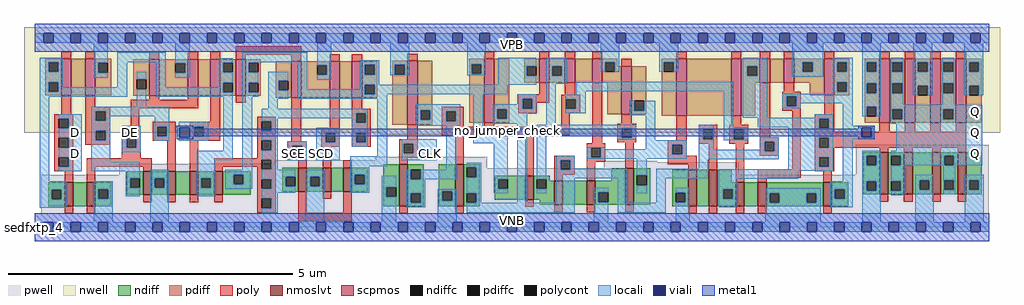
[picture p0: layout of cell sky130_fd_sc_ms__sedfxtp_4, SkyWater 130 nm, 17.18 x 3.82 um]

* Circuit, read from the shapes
.subckt sky130_fd_sc_ms__sedfxtp_4 CLK D DE SCD SCE VGND VNB VPB VPWR Q
XM1 n1 D n2 VNB sky130_fd_pr__nfet_01v8_lvt w=0.42 l=0.15
XM2 VGND DE n1 VNB sky130_fd_pr__nfet_01v8_lvt w=0.42 l=0.15
XM3 VGND DE n3 VNB sky130_fd_pr__nfet_01v8_lvt w=0.42 l=0.15
XM4 n4 n3 VGND VNB sky130_fd_pr__nfet_01v8_lvt w=0.42 l=0.15
XM5 n2 n5 n4 VNB sky130_fd_pr__nfet_01v8_lvt w=0.42 l=0.15
XM6 n6 n7 n2 VNB sky130_fd_pr__nfet_01v8_lvt w=0.42 l=0.15
XM7 VGND SCE n7 VNB sky130_fd_pr__nfet_01v8_lvt w=0.42 l=0.15
XM8 n8 SCD VGND VNB sky130_fd_pr__nfet_01v8_lvt w=0.42 l=0.15
XM9 n6 SCE n8 VNB sky130_fd_pr__nfet_01v8_lvt w=0.42 l=0.15
XM10 n9 CLK VGND VNB sky130_fd_pr__nfet_01v8_lvt w=0.74 l=0.15
XM11 n10 n9 VGND VNB sky130_fd_pr__nfet_01v8_lvt w=0.74 l=0.15
XM12 n11 n9 n6 VNB sky130_fd_pr__nfet_01v8_lvt w=0.42 l=0.15
XM13 n12 n10 n11 VNB sky130_fd_pr__nfet_01v8_lvt w=0.42 l=0.15
XM14 VGND n13 n12 VNB sky130_fd_pr__nfet_01v8_lvt w=0.42 l=0.15
XM15 n13 n11 VGND VNB sky130_fd_pr__nfet_01v8_lvt w=0.64 l=0.15
XM16 n14 n13 VGND VNB sky130_fd_pr__nfet_01v8_lvt w=0.64 l=0.15
XM17 n15 n10 n14 VNB sky130_fd_pr__nfet_01v8_lvt w=0.64 l=0.15
XM18 n16 n9 n15 VNB sky130_fd_pr__nfet_01v8_lvt w=0.42 l=0.15
XM19 VGND n5 n16 VNB sky130_fd_pr__nfet_01v8_lvt w=0.42 l=0.15
XM20 n5 n15 VGND VNB sky130_fd_pr__nfet_01v8_lvt w=0.42 l=0.15
XM21 Q n15 VGND VNB sky130_fd_pr__nfet_01v8_lvt w=0.74 l=0.15 m=4
XM22 n17 D n2 VPB sky130_fd_pr__pfet_01v8 w=0.64 l=0.18
XM23 VPWR n3 n17 VPB sky130_fd_pr__pfet_01v8 w=0.64 l=0.18
XM24 VPWR DE n3 VPB sky130_fd_pr__pfet_01v8 w=0.64 l=0.18
XM25 n18 DE VPWR VPB sky130_fd_pr__pfet_01v8 w=0.64 l=0.18
XM26 n2 n5 n18 VPB sky130_fd_pr__pfet_01v8 w=0.64 l=0.18
XM27 n6 SCE n2 VPB sky130_fd_pr__pfet_01v8 w=0.64 l=0.18
XM28 VPWR SCE n7 VPB sky130_fd_pr__pfet_01v8 w=0.64 l=0.18
XM29 n19 SCD VPWR VPB sky130_fd_pr__pfet_01v8 w=0.64 l=0.18
XM30 n6 n7 n19 VPB sky130_fd_pr__pfet_01v8 w=0.64 l=0.18
XM31 n9 CLK VPWR VPB sky130_fd_pr__pfet_01v8 w=1.12 l=0.18
XM32 n10 n9 VPWR VPB sky130_fd_pr__pfet_01v8 w=1.12 l=0.18
XM33 n11 n10 n6 VPB sky130_fd_pr__pfet_01v8 w=0.42 l=0.18
XM34 n20 n9 n11 VPB sky130_fd_pr__pfet_01v8 w=0.42 l=0.18
XM35 VPWR n13 n20 VPB sky130_fd_pr__pfet_01v8 w=0.42 l=0.18
XM36 n13 n11 VPWR VPB sky130_fd_pr__pfet_01v8 w=0.84 l=0.18
XM37 n21 n13 VPWR VPB sky130_fd_pr__pfet_01v8 w=1 l=0.18
XM38 n15 n9 n21 VPB sky130_fd_pr__pfet_01v8 w=1 l=0.18
XM39 n22 n10 n15 VPB sky130_fd_pr__pfet_01v8 w=0.42 l=0.18
XM40 VPWR n5 n22 VPB sky130_fd_pr__pfet_01v8 w=0.42 l=0.18
XM41 n5 n15 VPWR VPB sky130_fd_pr__pfet_01v8 w=0.64 l=0.18
XM42 Q n15 VPWR VPB sky130_fd_pr__pfet_01v8 w=1.12 l=0.18 m=4
.ends

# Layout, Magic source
magic
tech sky130A
magscale 1 2
<< nwell >>
rect -38 332 3398 704
rect 1223 325 1436 332
<< pwell >>
rect 1200 235 1592 248
rect 845 223 1592 235
rect 298 207 1592 223
rect 2003 228 2192 233
rect 2003 207 2479 228
rect 298 184 2479 207
rect 2891 184 3359 290
rect 22 49 3359 184
rect 0 0 3360 49
<< scpmos >>
rect 93 464 129 592
rect 177 464 213 592
rect 403 463 439 591
rect 539 463 575 591
rect 617 463 653 591
rect 707 463 743 591
rect 902 455 938 583
rect 1038 455 1074 583
rect 1116 455 1152 583
rect 1312 361 1348 585
rect 1582 368 1618 592
rect 1776 508 1812 592
rect 1866 508 1902 592
rect 1962 508 1998 592
rect 2065 398 2101 566
rect 2259 392 2295 592
rect 2451 392 2487 592
rect 2553 508 2589 592
rect 2637 508 2673 592
rect 2779 464 2815 592
rect 2973 368 3009 592
rect 3063 368 3099 592
rect 3153 368 3189 592
rect 3243 368 3279 592
<< nmoslvt >>
rect 105 74 135 158
rect 183 74 213 158
rect 381 113 411 197
rect 467 113 497 197
rect 545 113 575 197
rect 631 113 661 197
rect 928 125 958 209
rect 1014 125 1044 209
rect 1086 125 1116 209
rect 1283 74 1313 222
rect 1480 74 1510 222
rect 1726 97 1756 181
rect 1828 79 1858 163
rect 1943 79 1973 163
rect 2079 79 2109 207
rect 2301 74 2331 202
rect 2373 74 2403 202
rect 2468 74 2498 158
rect 2546 74 2576 158
rect 2776 74 2806 158
rect 2974 116 3004 264
rect 3060 116 3090 264
rect 3160 116 3190 264
rect 3249 116 3279 264
<< ndiff >>
rect 324 172 381 197
rect 48 132 105 158
rect 48 98 60 132
rect 94 98 105 132
rect 48 74 105 98
rect 135 74 183 158
rect 213 133 270 158
rect 213 99 224 133
rect 258 99 270 133
rect 324 138 336 172
rect 370 138 381 172
rect 324 113 381 138
rect 411 172 467 197
rect 411 138 422 172
rect 456 138 467 172
rect 411 113 467 138
rect 497 113 545 197
rect 575 172 631 197
rect 575 138 586 172
rect 620 138 631 172
rect 575 113 631 138
rect 661 185 761 197
rect 661 151 700 185
rect 734 151 761 185
rect 661 113 761 151
rect 213 74 270 99
rect 871 178 928 209
rect 871 144 883 178
rect 917 144 928 178
rect 871 125 928 144
rect 958 178 1014 209
rect 958 144 969 178
rect 1003 144 1014 178
rect 958 125 1014 144
rect 1044 125 1086 209
rect 1116 184 1172 209
rect 1116 150 1127 184
rect 1161 150 1172 184
rect 1116 125 1172 150
rect 1226 141 1283 222
rect 1226 107 1238 141
rect 1272 107 1283 141
rect 1226 74 1283 107
rect 1313 202 1369 222
rect 1313 168 1324 202
rect 1358 168 1369 202
rect 1313 120 1369 168
rect 1313 86 1324 120
rect 1358 86 1369 120
rect 1313 74 1369 86
rect 1423 127 1480 222
rect 1423 93 1435 127
rect 1469 93 1480 127
rect 1423 74 1480 93
rect 1510 210 1566 222
rect 1510 176 1521 210
rect 1555 176 1566 210
rect 1510 120 1566 176
rect 1510 86 1521 120
rect 1555 86 1566 120
rect 1620 169 1726 181
rect 1620 135 1631 169
rect 1665 135 1726 169
rect 1620 97 1726 135
rect 1756 169 1813 181
rect 1756 135 1767 169
rect 1801 163 1813 169
rect 2029 163 2079 207
rect 1801 135 1828 163
rect 1756 97 1828 135
rect 1510 74 1566 86
rect 1778 79 1828 97
rect 1858 79 1943 163
rect 1973 122 2079 163
rect 1973 88 1984 122
rect 2018 88 2079 122
rect 1973 79 2079 88
rect 2109 182 2166 207
rect 2109 148 2120 182
rect 2154 148 2166 182
rect 2109 79 2166 148
rect 2244 121 2301 202
rect 2244 87 2256 121
rect 2290 87 2301 121
rect 2244 74 2301 87
rect 2331 74 2373 202
rect 2403 158 2453 202
rect 2917 252 2974 264
rect 2917 218 2929 252
rect 2963 218 2974 252
rect 2917 162 2974 218
rect 2403 133 2468 158
rect 2403 99 2423 133
rect 2457 99 2468 133
rect 2403 74 2468 99
rect 2498 74 2546 158
rect 2576 120 2776 158
rect 2576 86 2587 120
rect 2621 86 2717 120
rect 2751 86 2776 120
rect 2576 74 2776 86
rect 2806 133 2863 158
rect 2806 99 2817 133
rect 2851 99 2863 133
rect 2917 128 2929 162
rect 2963 128 2974 162
rect 2917 116 2974 128
rect 3004 252 3060 264
rect 3004 218 3015 252
rect 3049 218 3060 252
rect 3004 162 3060 218
rect 3004 128 3015 162
rect 3049 128 3060 162
rect 3004 116 3060 128
rect 3090 165 3160 264
rect 3090 131 3115 165
rect 3149 131 3160 165
rect 3090 116 3160 131
rect 3190 252 3249 264
rect 3190 218 3202 252
rect 3236 218 3249 252
rect 3190 165 3249 218
rect 3190 131 3202 165
rect 3236 131 3249 165
rect 3190 116 3249 131
rect 3279 165 3333 264
rect 3279 131 3290 165
rect 3324 131 3333 165
rect 3279 116 3333 131
rect 2806 74 2863 99
<< pdiff >>
rect 37 580 93 592
rect 37 546 49 580
rect 83 546 93 580
rect 37 510 93 546
rect 37 476 49 510
rect 83 476 93 510
rect 37 464 93 476
rect 129 464 177 592
rect 213 578 269 592
rect 213 544 223 578
rect 257 544 269 578
rect 213 464 269 544
rect 347 520 403 591
rect 347 486 359 520
rect 393 486 403 520
rect 347 463 403 486
rect 439 577 539 591
rect 439 543 495 577
rect 529 543 539 577
rect 439 463 539 543
rect 575 463 617 591
rect 653 579 707 591
rect 653 545 663 579
rect 697 545 707 579
rect 653 509 707 545
rect 653 475 663 509
rect 697 475 707 509
rect 653 463 707 475
rect 743 579 795 591
rect 743 545 753 579
rect 787 545 795 579
rect 743 509 795 545
rect 743 475 753 509
rect 787 475 795 509
rect 743 463 795 475
rect 849 516 902 583
rect 849 482 858 516
rect 892 482 902 516
rect 849 455 902 482
rect 938 570 1038 583
rect 938 536 994 570
rect 1028 536 1038 570
rect 938 455 1038 536
rect 1074 455 1116 583
rect 1152 571 1205 583
rect 1152 537 1162 571
rect 1196 537 1205 571
rect 1152 501 1205 537
rect 1152 467 1162 501
rect 1196 467 1205 501
rect 1152 455 1205 467
rect 1259 571 1312 585
rect 1259 537 1268 571
rect 1302 537 1312 571
rect 1259 361 1312 537
rect 1348 412 1400 585
rect 1530 574 1582 592
rect 1530 540 1538 574
rect 1572 540 1582 574
rect 1348 378 1358 412
rect 1392 378 1400 412
rect 1348 361 1400 378
rect 1530 368 1582 540
rect 1618 415 1670 592
rect 1724 567 1776 592
rect 1724 533 1732 567
rect 1766 533 1776 567
rect 1724 508 1776 533
rect 1812 567 1866 592
rect 1812 533 1822 567
rect 1856 533 1866 567
rect 1812 508 1866 533
rect 1902 508 1962 592
rect 1998 580 2050 592
rect 1998 546 2008 580
rect 2042 566 2050 580
rect 2207 580 2259 592
rect 2042 546 2065 566
rect 1998 508 2065 546
rect 1618 381 1628 415
rect 1662 381 1670 415
rect 1618 368 1670 381
rect 2015 398 2065 508
rect 2101 444 2153 566
rect 2101 410 2111 444
rect 2145 410 2153 444
rect 2101 398 2153 410
rect 2207 546 2215 580
rect 2249 546 2259 580
rect 2207 392 2259 546
rect 2295 392 2451 592
rect 2487 567 2553 592
rect 2487 533 2509 567
rect 2543 533 2553 567
rect 2487 508 2553 533
rect 2589 508 2637 592
rect 2673 580 2779 592
rect 2673 546 2704 580
rect 2738 546 2779 580
rect 2673 508 2779 546
rect 2487 392 2537 508
rect 2729 464 2779 508
rect 2815 580 2867 592
rect 2815 546 2825 580
rect 2859 546 2867 580
rect 2815 510 2867 546
rect 2815 476 2825 510
rect 2859 476 2867 510
rect 2815 464 2867 476
rect 2921 580 2973 592
rect 2921 546 2929 580
rect 2963 546 2973 580
rect 2921 506 2973 546
rect 2921 472 2929 506
rect 2963 472 2973 506
rect 2921 424 2973 472
rect 2921 390 2929 424
rect 2963 390 2973 424
rect 2921 368 2973 390
rect 3009 580 3063 592
rect 3009 546 3019 580
rect 3053 546 3063 580
rect 3009 506 3063 546
rect 3009 472 3019 506
rect 3053 472 3063 506
rect 3009 414 3063 472
rect 3009 380 3019 414
rect 3053 380 3063 414
rect 3009 368 3063 380
rect 3099 580 3153 592
rect 3099 546 3109 580
rect 3143 546 3153 580
rect 3099 498 3153 546
rect 3099 464 3109 498
rect 3143 464 3153 498
rect 3099 368 3153 464
rect 3189 580 3243 592
rect 3189 546 3199 580
rect 3233 546 3243 580
rect 3189 506 3243 546
rect 3189 472 3199 506
rect 3233 472 3243 506
rect 3189 414 3243 472
rect 3189 380 3199 414
rect 3233 380 3243 414
rect 3189 368 3243 380
rect 3279 580 3333 592
rect 3279 546 3289 580
rect 3323 546 3333 580
rect 3279 498 3333 546
rect 3279 464 3289 498
rect 3323 464 3333 498
rect 3279 368 3333 464
<< ndiffc >>
rect 60 98 94 132
rect 224 99 258 133
rect 336 138 370 172
rect 422 138 456 172
rect 586 138 620 172
rect 700 151 734 185
rect 883 144 917 178
rect 969 144 1003 178
rect 1127 150 1161 184
rect 1238 107 1272 141
rect 1324 168 1358 202
rect 1324 86 1358 120
rect 1435 93 1469 127
rect 1521 176 1555 210
rect 1521 86 1555 120
rect 1631 135 1665 169
rect 1767 135 1801 169
rect 1984 88 2018 122
rect 2120 148 2154 182
rect 2256 87 2290 121
rect 2929 218 2963 252
rect 2423 99 2457 133
rect 2587 86 2621 120
rect 2717 86 2751 120
rect 2817 99 2851 133
rect 2929 128 2963 162
rect 3015 218 3049 252
rect 3015 128 3049 162
rect 3115 131 3149 165
rect 3202 218 3236 252
rect 3202 131 3236 165
rect 3290 131 3324 165
<< pdiffc >>
rect 49 546 83 580
rect 49 476 83 510
rect 223 544 257 578
rect 359 486 393 520
rect 495 543 529 577
rect 663 545 697 579
rect 663 475 697 509
rect 753 545 787 579
rect 753 475 787 509
rect 858 482 892 516
rect 994 536 1028 570
rect 1162 537 1196 571
rect 1162 467 1196 501
rect 1268 537 1302 571
rect 1538 540 1572 574
rect 1358 378 1392 412
rect 1732 533 1766 567
rect 1822 533 1856 567
rect 2008 546 2042 580
rect 1628 381 1662 415
rect 2111 410 2145 444
rect 2215 546 2249 580
rect 2509 533 2543 567
rect 2704 546 2738 580
rect 2825 546 2859 580
rect 2825 476 2859 510
rect 2929 546 2963 580
rect 2929 472 2963 506
rect 2929 390 2963 424
rect 3019 546 3053 580
rect 3019 472 3053 506
rect 3019 380 3053 414
rect 3109 546 3143 580
rect 3109 464 3143 498
rect 3199 546 3233 580
rect 3199 472 3233 506
rect 3199 380 3233 414
rect 3289 546 3323 580
rect 3289 464 3323 498
<< poly >>
rect 93 592 129 618
rect 177 592 213 618
rect 403 591 439 617
rect 539 591 575 617
rect 617 591 653 617
rect 707 606 938 636
rect 707 591 743 606
rect 93 398 129 464
rect 177 424 213 464
rect 902 583 938 606
rect 1038 583 1074 609
rect 1116 583 1152 609
rect 1312 585 1348 611
rect 1582 592 1618 618
rect 1776 592 1812 618
rect 1866 592 1902 618
rect 1962 592 1998 618
rect 2259 592 2295 618
rect 2451 592 2487 618
rect 2553 592 2589 618
rect 2637 592 2673 618
rect 2779 592 2815 618
rect 2973 592 3009 618
rect 3063 592 3099 618
rect 3153 592 3189 618
rect 3243 592 3279 618
rect 403 448 439 463
rect 539 448 575 463
rect 177 408 265 424
rect 69 382 135 398
rect 69 348 85 382
rect 119 348 135 382
rect 69 314 135 348
rect 69 280 85 314
rect 119 280 135 314
rect 177 374 215 408
rect 249 374 265 408
rect 177 340 265 374
rect 177 306 215 340
rect 249 306 265 340
rect 337 418 575 448
rect 337 330 367 418
rect 617 370 653 463
rect 707 437 743 463
rect 415 354 497 370
rect 177 290 265 306
rect 307 314 373 330
rect 69 246 135 280
rect 69 212 85 246
rect 119 212 135 246
rect 307 280 323 314
rect 357 280 373 314
rect 415 320 431 354
rect 465 320 497 354
rect 415 304 497 320
rect 307 242 373 280
rect 69 196 135 212
rect 105 158 135 196
rect 183 212 411 242
rect 183 158 213 212
rect 381 197 411 212
rect 467 197 497 304
rect 545 354 653 370
rect 545 320 561 354
rect 595 320 653 354
rect 545 304 653 320
rect 783 373 849 389
rect 783 339 799 373
rect 833 339 849 373
rect 783 305 849 339
rect 545 197 575 304
rect 783 271 799 305
rect 833 271 849 305
rect 902 302 938 455
rect 1038 349 1074 455
rect 1008 333 1074 349
rect 783 242 849 271
rect 631 237 849 242
rect 631 212 799 237
rect 631 197 661 212
rect 783 203 799 212
rect 833 203 849 237
rect 891 286 958 302
rect 891 252 907 286
rect 941 252 958 286
rect 1008 299 1024 333
rect 1058 299 1074 333
rect 1008 283 1074 299
rect 1116 417 1152 455
rect 1116 401 1182 417
rect 1116 367 1132 401
rect 1166 367 1182 401
rect 1116 333 1182 367
rect 1432 407 1510 423
rect 1432 373 1448 407
rect 1482 373 1510 407
rect 1116 299 1132 333
rect 1166 299 1182 333
rect 1312 310 1348 361
rect 1432 353 1510 373
rect 2065 566 2101 592
rect 1776 467 1812 508
rect 1702 451 1812 467
rect 1866 466 1902 508
rect 1702 417 1718 451
rect 1752 437 1812 451
rect 1854 450 1920 466
rect 1752 417 1768 437
rect 1702 401 1768 417
rect 1854 416 1870 450
rect 1904 416 1920 450
rect 1854 400 1920 416
rect 1582 353 1618 368
rect 1854 353 1884 400
rect 1432 323 1884 353
rect 1116 283 1182 299
rect 1283 294 1349 310
rect 891 236 958 252
rect 928 209 958 236
rect 1014 209 1044 283
rect 1283 260 1299 294
rect 1333 260 1349 294
rect 1283 244 1349 260
rect 1086 209 1116 235
rect 1283 222 1313 244
rect 1480 222 1510 323
rect 783 169 849 203
rect 783 135 799 169
rect 833 135 849 169
rect 381 87 411 113
rect 467 87 497 113
rect 545 87 575 113
rect 631 87 661 113
rect 783 101 849 135
rect 105 48 135 74
rect 183 48 213 74
rect 783 67 799 101
rect 833 67 849 101
rect 783 51 849 67
rect 928 51 958 125
rect 1014 99 1044 125
rect 1086 51 1116 125
rect 1726 181 1756 323
rect 1962 296 1998 508
rect 2065 364 2101 398
rect 2051 348 2117 364
rect 2051 314 2067 348
rect 2101 314 2117 348
rect 2051 298 2117 314
rect 2259 306 2295 392
rect 2451 360 2487 392
rect 1943 280 2009 296
rect 1828 235 1901 251
rect 1828 201 1851 235
rect 1885 201 1901 235
rect 1828 185 1901 201
rect 1943 246 1959 280
rect 1993 246 2009 280
rect 1943 230 2009 246
rect 1828 163 1858 185
rect 1943 163 1973 230
rect 2079 207 2109 298
rect 2229 290 2295 306
rect 2337 344 2403 360
rect 2337 310 2353 344
rect 2387 310 2403 344
rect 2337 294 2403 310
rect 2445 344 2511 360
rect 2445 310 2461 344
rect 2495 310 2511 344
rect 2445 294 2511 310
rect 2553 317 2589 508
rect 2637 476 2673 508
rect 2631 460 2697 476
rect 2631 426 2647 460
rect 2681 426 2697 460
rect 2631 410 2697 426
rect 2553 301 2619 317
rect 2229 256 2245 290
rect 2279 256 2295 290
rect 2229 252 2295 256
rect 2229 222 2331 252
rect 928 21 1116 51
rect 1283 48 1313 74
rect 1480 48 1510 74
rect 1726 71 1756 97
rect 2301 202 2331 222
rect 2373 202 2403 294
rect 1828 53 1858 79
rect 1943 53 1973 79
rect 2079 53 2109 79
rect 2468 158 2498 294
rect 2553 267 2569 301
rect 2603 267 2619 301
rect 2553 251 2619 267
rect 2667 203 2697 410
rect 2779 398 2815 464
rect 2546 173 2697 203
rect 2745 382 2815 398
rect 2745 348 2761 382
rect 2795 348 2815 382
rect 2745 336 2815 348
rect 2973 336 3009 368
rect 3063 336 3099 368
rect 3153 336 3189 368
rect 3243 336 3279 368
rect 2745 314 3279 336
rect 2745 280 2761 314
rect 2795 280 3279 314
rect 2745 279 3279 280
rect 2745 246 2815 279
rect 2974 264 3004 279
rect 3060 264 3090 279
rect 3160 264 3190 279
rect 3249 264 3279 279
rect 2745 212 2761 246
rect 2795 212 2815 246
rect 2745 196 2815 212
rect 2546 158 2576 173
rect 2776 158 2806 196
rect 2974 90 3004 116
rect 3060 90 3090 116
rect 3160 90 3190 116
rect 3249 90 3279 116
rect 2301 48 2331 74
rect 2373 48 2403 74
rect 2468 48 2498 74
rect 2546 48 2576 74
rect 2776 48 2806 74
<< polycont >>
rect 85 348 119 382
rect 85 280 119 314
rect 215 374 249 408
rect 215 306 249 340
rect 85 212 119 246
rect 323 280 357 314
rect 431 320 465 354
rect 561 320 595 354
rect 799 339 833 373
rect 799 271 833 305
rect 799 203 833 237
rect 907 252 941 286
rect 1024 299 1058 333
rect 1132 367 1166 401
rect 1448 373 1482 407
rect 1132 299 1166 333
rect 1718 417 1752 451
rect 1870 416 1904 450
rect 1299 260 1333 294
rect 799 135 833 169
rect 799 67 833 101
rect 2067 314 2101 348
rect 1851 201 1885 235
rect 1959 246 1993 280
rect 2353 310 2387 344
rect 2461 310 2495 344
rect 2647 426 2681 460
rect 2245 256 2279 290
rect 2569 267 2603 301
rect 2761 348 2795 382
rect 2761 280 2795 314
rect 2761 212 2795 246
<< locali >>
rect 0 649 31 683
rect 65 649 127 683
rect 161 649 223 683
rect 257 649 319 683
rect 353 649 415 683
rect 449 649 511 683
rect 545 649 607 683
rect 641 649 703 683
rect 737 649 799 683
rect 833 649 895 683
rect 929 649 991 683
rect 1025 649 1087 683
rect 1121 649 1183 683
rect 1217 649 1279 683
rect 1313 649 1375 683
rect 1409 649 1471 683
rect 1505 649 1567 683
rect 1601 649 1663 683
rect 1697 649 1759 683
rect 1793 649 1855 683
rect 1889 649 1951 683
rect 1985 649 2047 683
rect 2081 649 2143 683
rect 2177 649 2239 683
rect 2273 649 2335 683
rect 2369 649 2431 683
rect 2465 649 2527 683
rect 2561 649 2623 683
rect 2657 649 2719 683
rect 2753 649 2815 683
rect 2849 649 2911 683
rect 2945 649 3007 683
rect 3041 649 3103 683
rect 3137 649 3199 683
rect 3233 649 3295 683
rect 3329 649 3360 683
rect 17 580 99 596
rect 17 546 49 580
rect 83 546 99 580
rect 17 510 99 546
rect 207 578 257 649
rect 207 544 223 578
rect 207 526 257 544
rect 291 581 461 615
rect 17 476 49 510
rect 83 492 99 510
rect 291 492 325 581
rect 83 476 325 492
rect 17 458 325 476
rect 359 520 393 547
rect 17 162 51 458
rect 359 424 393 486
rect 427 492 461 581
rect 495 577 545 649
rect 529 543 545 577
rect 495 526 545 543
rect 647 579 697 595
rect 647 545 663 579
rect 647 509 697 545
rect 647 492 663 509
rect 427 475 663 492
rect 427 458 697 475
rect 199 408 473 424
rect 85 382 165 398
rect 119 348 165 382
rect 85 314 165 348
rect 119 280 165 314
rect 85 246 165 280
rect 119 212 165 246
rect 85 196 165 212
rect 199 374 215 408
rect 249 390 473 408
rect 249 374 265 390
rect 199 340 265 374
rect 199 306 215 340
rect 249 306 265 340
rect 199 230 265 306
rect 307 314 373 356
rect 307 280 323 314
rect 357 280 373 314
rect 423 354 473 390
rect 423 320 431 354
rect 465 320 473 354
rect 423 304 473 320
rect 507 354 611 370
rect 507 350 561 354
rect 507 316 511 350
rect 545 320 561 350
rect 595 320 611 354
rect 545 316 611 320
rect 507 304 611 316
rect 307 264 373 280
rect 663 269 697 458
rect 570 235 697 269
rect 731 581 960 615
rect 731 579 787 581
rect 731 545 753 579
rect 731 509 787 545
rect 731 475 753 509
rect 731 459 787 475
rect 821 516 892 547
rect 821 482 858 516
rect 199 196 370 230
rect 320 172 370 196
rect 17 132 110 162
rect 17 98 60 132
rect 94 98 110 132
rect 17 68 110 98
rect 208 133 274 162
rect 208 99 224 133
rect 258 99 274 133
rect 320 138 336 172
rect 320 109 370 138
rect 406 172 472 201
rect 406 138 422 172
rect 456 138 472 172
rect 208 17 274 99
rect 406 17 472 138
rect 570 172 636 235
rect 731 201 765 459
rect 821 451 892 482
rect 926 485 960 581
rect 994 570 1044 649
rect 1028 536 1044 570
rect 994 519 1044 536
rect 1146 571 1212 587
rect 1146 537 1162 571
rect 1196 537 1212 571
rect 1146 501 1212 537
rect 1252 571 1318 649
rect 1252 537 1268 571
rect 1302 537 1318 571
rect 1252 535 1318 537
rect 1522 574 1588 649
rect 1522 540 1538 574
rect 1572 540 1588 574
rect 1522 535 1588 540
rect 1631 567 1766 596
rect 1631 533 1732 567
rect 1631 501 1766 533
rect 1800 567 1872 596
rect 1800 533 1822 567
rect 1856 533 1872 567
rect 1992 580 2058 649
rect 1992 546 2008 580
rect 2042 546 2058 580
rect 2199 580 2265 649
rect 2199 546 2215 580
rect 2249 546 2265 580
rect 2493 567 2579 596
rect 1800 504 1872 533
rect 2493 533 2509 567
rect 2543 533 2579 567
rect 1146 485 1162 501
rect 926 467 1162 485
rect 1196 467 1665 501
rect 926 451 1240 467
rect 821 417 855 451
rect 570 138 586 172
rect 620 138 636 172
rect 570 109 636 138
rect 670 185 765 201
rect 670 151 700 185
rect 734 151 765 185
rect 670 135 765 151
rect 799 401 1172 417
rect 799 383 1132 401
rect 799 373 855 383
rect 833 339 855 373
rect 1116 367 1132 383
rect 1166 367 1172 401
rect 799 305 855 339
rect 833 271 855 305
rect 991 333 1074 349
rect 799 237 855 271
rect 833 203 855 237
rect 889 286 957 302
rect 889 252 907 286
rect 941 252 957 286
rect 889 236 957 252
rect 991 299 1024 333
rect 1058 299 1074 333
rect 991 236 1074 299
rect 1116 333 1172 367
rect 1116 299 1132 333
rect 1166 299 1172 333
rect 1116 283 1172 299
rect 1206 249 1240 451
rect 1342 412 1498 433
rect 1342 378 1358 412
rect 1392 407 1498 412
rect 1392 378 1448 407
rect 1342 373 1448 378
rect 1482 373 1498 407
rect 1342 357 1498 373
rect 799 202 855 203
rect 1111 215 1240 249
rect 1291 294 1415 310
rect 1291 260 1299 294
rect 1333 260 1415 294
rect 1291 236 1415 260
rect 799 178 917 202
rect 799 169 883 178
rect 833 144 883 169
rect 833 135 917 144
rect 799 121 917 135
rect 953 178 1019 202
rect 953 144 969 178
rect 1003 144 1019 178
rect 799 101 855 121
rect 833 67 855 101
rect 799 51 855 67
rect 953 17 1019 144
rect 1111 184 1177 215
rect 1449 202 1483 357
rect 1544 330 1578 467
rect 1699 451 1766 467
rect 1699 433 1718 451
rect 1612 417 1718 433
rect 1752 417 1766 451
rect 1612 415 1766 417
rect 1612 381 1628 415
rect 1662 399 1766 415
rect 1662 381 1733 399
rect 1612 364 1733 381
rect 1544 296 1665 330
rect 1111 150 1127 184
rect 1161 150 1177 184
rect 1111 121 1177 150
rect 1222 141 1272 181
rect 1222 107 1238 141
rect 1222 17 1272 107
rect 1308 168 1324 202
rect 1358 168 1483 202
rect 1521 210 1571 226
rect 1555 176 1571 210
rect 1308 120 1374 168
rect 1308 86 1324 120
rect 1358 86 1374 120
rect 1308 70 1374 86
rect 1419 127 1485 134
rect 1419 93 1435 127
rect 1469 93 1485 127
rect 1419 17 1485 93
rect 1521 120 1571 176
rect 1555 86 1571 120
rect 1615 169 1665 296
rect 1615 135 1631 169
rect 1615 119 1665 135
rect 1521 85 1571 86
rect 1699 85 1733 364
rect 1800 360 1834 504
rect 1906 478 2459 512
rect 1906 466 1940 478
rect 1868 450 1940 466
rect 1868 416 1870 450
rect 1904 416 1940 450
rect 1868 400 1940 416
rect 2095 410 2111 444
rect 2145 410 2185 444
rect 2095 394 2185 410
rect 1767 348 2117 360
rect 1767 326 2067 348
rect 1767 169 1801 326
rect 2051 314 2067 326
rect 2101 314 2117 348
rect 2051 308 2117 314
rect 2151 306 2185 394
rect 2337 344 2391 360
rect 2337 310 2353 344
rect 2387 310 2391 344
rect 2151 290 2295 306
rect 1943 280 2009 281
rect 1767 119 1801 135
rect 1835 235 1901 251
rect 1943 246 1959 280
rect 1993 274 2009 280
rect 2151 274 2245 290
rect 1993 256 2245 274
rect 2279 256 2295 290
rect 1993 246 2295 256
rect 1943 240 2295 246
rect 2337 272 2391 310
rect 2425 351 2459 478
rect 2493 385 2579 533
rect 2667 580 2775 649
rect 2667 546 2704 580
rect 2738 546 2775 580
rect 2667 530 2775 546
rect 2809 580 2879 596
rect 2809 546 2825 580
rect 2859 546 2879 580
rect 2809 510 2879 546
rect 2809 476 2825 510
rect 2859 476 2879 510
rect 2809 470 2879 476
rect 2631 460 2879 470
rect 2631 426 2647 460
rect 2681 436 2879 460
rect 2681 426 2697 436
rect 2631 419 2697 426
rect 2745 385 2811 398
rect 2545 382 2811 385
rect 2545 351 2761 382
rect 2425 344 2511 351
rect 2425 310 2461 344
rect 2495 310 2511 344
rect 2653 348 2761 351
rect 2795 348 2811 382
rect 2425 306 2511 310
rect 2553 301 2619 317
rect 2553 272 2569 301
rect 2337 267 2569 272
rect 2603 267 2619 301
rect 1835 201 1851 235
rect 1885 206 1901 235
rect 1885 201 2086 206
rect 1835 172 2086 201
rect 1835 85 1901 172
rect 1521 51 1901 85
rect 1968 122 2018 138
rect 1968 88 1984 122
rect 1968 17 2018 88
rect 2052 85 2086 172
rect 2120 182 2154 240
rect 2337 238 2619 267
rect 2653 314 2811 348
rect 2653 280 2761 314
rect 2795 280 2811 314
rect 2653 246 2811 280
rect 2337 206 2371 238
rect 2120 119 2154 148
rect 2188 172 2371 206
rect 2653 212 2761 246
rect 2795 212 2811 246
rect 2653 204 2811 212
rect 2407 198 2811 204
rect 2188 85 2222 172
rect 2407 170 2687 198
rect 2745 196 2811 198
rect 2845 356 2879 436
rect 2913 580 2979 649
rect 2913 546 2929 580
rect 2963 546 2979 580
rect 2913 506 2979 546
rect 2913 472 2929 506
rect 2963 472 2979 506
rect 2913 424 2979 472
rect 2913 390 2929 424
rect 2963 390 2979 424
rect 3013 580 3057 596
rect 3013 546 3019 580
rect 3053 546 3057 580
rect 3013 506 3057 546
rect 3013 472 3019 506
rect 3053 472 3057 506
rect 3013 430 3057 472
rect 3093 580 3159 649
rect 3093 546 3109 580
rect 3143 546 3159 580
rect 3093 498 3159 546
rect 3093 464 3109 498
rect 3143 464 3159 498
rect 3194 580 3237 596
rect 3194 546 3199 580
rect 3233 546 3237 580
rect 3194 506 3237 546
rect 3194 472 3199 506
rect 3233 472 3237 506
rect 3194 430 3237 472
rect 3273 580 3339 649
rect 3273 546 3289 580
rect 3323 546 3339 580
rect 3273 498 3339 546
rect 3273 464 3289 498
rect 3323 464 3339 498
rect 3013 414 3335 430
rect 3013 380 3019 414
rect 3053 380 3199 414
rect 3233 380 3335 414
rect 3013 364 3335 380
rect 2845 350 2951 356
rect 2845 316 2911 350
rect 2945 316 2951 350
rect 2845 310 2951 316
rect 2052 51 2222 85
rect 2256 121 2306 138
rect 2290 87 2306 121
rect 2256 17 2306 87
rect 2407 133 2473 170
rect 2845 162 2879 310
rect 3033 268 3335 364
rect 2407 99 2423 133
rect 2457 99 2473 133
rect 2407 70 2473 99
rect 2571 120 2767 136
rect 2571 86 2587 120
rect 2621 86 2717 120
rect 2751 86 2767 120
rect 2571 17 2767 86
rect 2801 133 2879 162
rect 2801 99 2817 133
rect 2851 99 2879 133
rect 2801 70 2879 99
rect 2913 252 2979 268
rect 2913 218 2929 252
rect 2963 218 2979 252
rect 2913 162 2979 218
rect 2913 128 2929 162
rect 2963 128 2979 162
rect 2913 17 2979 128
rect 3015 252 3335 268
rect 3049 218 3202 252
rect 3236 218 3335 252
rect 3015 162 3065 218
rect 3049 128 3065 162
rect 3015 112 3065 128
rect 3099 165 3165 184
rect 3099 131 3115 165
rect 3149 131 3165 165
rect 3099 17 3165 131
rect 3199 165 3240 218
rect 3199 131 3202 165
rect 3236 131 3240 165
rect 3199 115 3240 131
rect 3274 165 3340 184
rect 3274 131 3290 165
rect 3324 131 3340 165
rect 3274 17 3340 131
rect 0 -17 31 17
rect 65 -17 127 17
rect 161 -17 223 17
rect 257 -17 319 17
rect 353 -17 415 17
rect 449 -17 511 17
rect 545 -17 607 17
rect 641 -17 703 17
rect 737 -17 799 17
rect 833 -17 895 17
rect 929 -17 991 17
rect 1025 -17 1087 17
rect 1121 -17 1183 17
rect 1217 -17 1279 17
rect 1313 -17 1375 17
rect 1409 -17 1471 17
rect 1505 -17 1567 17
rect 1601 -17 1663 17
rect 1697 -17 1759 17
rect 1793 -17 1855 17
rect 1889 -17 1951 17
rect 1985 -17 2047 17
rect 2081 -17 2143 17
rect 2177 -17 2239 17
rect 2273 -17 2335 17
rect 2369 -17 2431 17
rect 2465 -17 2527 17
rect 2561 -17 2623 17
rect 2657 -17 2719 17
rect 2753 -17 2815 17
rect 2849 -17 2911 17
rect 2945 -17 3007 17
rect 3041 -17 3103 17
rect 3137 -17 3199 17
rect 3233 -17 3295 17
rect 3329 -17 3360 17
<< viali >>
rect 31 649 65 683
rect 127 649 161 683
rect 223 649 257 683
rect 319 649 353 683
rect 415 649 449 683
rect 511 649 545 683
rect 607 649 641 683
rect 703 649 737 683
rect 799 649 833 683
rect 895 649 929 683
rect 991 649 1025 683
rect 1087 649 1121 683
rect 1183 649 1217 683
rect 1279 649 1313 683
rect 1375 649 1409 683
rect 1471 649 1505 683
rect 1567 649 1601 683
rect 1663 649 1697 683
rect 1759 649 1793 683
rect 1855 649 1889 683
rect 1951 649 1985 683
rect 2047 649 2081 683
rect 2143 649 2177 683
rect 2239 649 2273 683
rect 2335 649 2369 683
rect 2431 649 2465 683
rect 2527 649 2561 683
rect 2623 649 2657 683
rect 2719 649 2753 683
rect 2815 649 2849 683
rect 2911 649 2945 683
rect 3007 649 3041 683
rect 3103 649 3137 683
rect 3199 649 3233 683
rect 3295 649 3329 683
rect 511 316 545 350
rect 2911 316 2945 350
rect 31 -17 65 17
rect 127 -17 161 17
rect 223 -17 257 17
rect 319 -17 353 17
rect 415 -17 449 17
rect 511 -17 545 17
rect 607 -17 641 17
rect 703 -17 737 17
rect 799 -17 833 17
rect 895 -17 929 17
rect 991 -17 1025 17
rect 1087 -17 1121 17
rect 1183 -17 1217 17
rect 1279 -17 1313 17
rect 1375 -17 1409 17
rect 1471 -17 1505 17
rect 1567 -17 1601 17
rect 1663 -17 1697 17
rect 1759 -17 1793 17
rect 1855 -17 1889 17
rect 1951 -17 1985 17
rect 2047 -17 2081 17
rect 2143 -17 2177 17
rect 2239 -17 2273 17
rect 2335 -17 2369 17
rect 2431 -17 2465 17
rect 2527 -17 2561 17
rect 2623 -17 2657 17
rect 2719 -17 2753 17
rect 2815 -17 2849 17
rect 2911 -17 2945 17
rect 3007 -17 3041 17
rect 3103 -17 3137 17
rect 3199 -17 3233 17
rect 3295 -17 3329 17
<< metal1 >>
rect 0 683 3360 715
rect 0 649 31 683
rect 65 649 127 683
rect 161 649 223 683
rect 257 649 319 683
rect 353 649 415 683
rect 449 649 511 683
rect 545 649 607 683
rect 641 649 703 683
rect 737 649 799 683
rect 833 649 895 683
rect 929 649 991 683
rect 1025 649 1087 683
rect 1121 649 1183 683
rect 1217 649 1279 683
rect 1313 649 1375 683
rect 1409 649 1471 683
rect 1505 649 1567 683
rect 1601 649 1663 683
rect 1697 649 1759 683
rect 1793 649 1855 683
rect 1889 649 1951 683
rect 1985 649 2047 683
rect 2081 649 2143 683
rect 2177 649 2239 683
rect 2273 649 2335 683
rect 2369 649 2431 683
rect 2465 649 2527 683
rect 2561 649 2623 683
rect 2657 649 2719 683
rect 2753 649 2815 683
rect 2849 649 2911 683
rect 2945 649 3007 683
rect 3041 649 3103 683
rect 3137 649 3199 683
rect 3233 649 3295 683
rect 3329 649 3360 683
rect 0 617 3360 649
rect 499 350 557 356
rect 499 316 511 350
rect 545 347 557 350
rect 2899 350 2957 356
rect 2899 347 2911 350
rect 545 319 2911 347
rect 545 316 557 319
rect 499 310 557 316
rect 2899 316 2911 319
rect 2945 316 2957 350
rect 2899 310 2957 316
rect 0 17 3360 49
rect 0 -17 31 17
rect 65 -17 127 17
rect 161 -17 223 17
rect 257 -17 319 17
rect 353 -17 415 17
rect 449 -17 511 17
rect 545 -17 607 17
rect 641 -17 703 17
rect 737 -17 799 17
rect 833 -17 895 17
rect 929 -17 991 17
rect 1025 -17 1087 17
rect 1121 -17 1183 17
rect 1217 -17 1279 17
rect 1313 -17 1375 17
rect 1409 -17 1471 17
rect 1505 -17 1567 17
rect 1601 -17 1663 17
rect 1697 -17 1759 17
rect 1793 -17 1855 17
rect 1889 -17 1951 17
rect 1985 -17 2047 17
rect 2081 -17 2143 17
rect 2177 -17 2239 17
rect 2273 -17 2335 17
rect 2369 -17 2431 17
rect 2465 -17 2527 17
rect 2561 -17 2623 17
rect 2657 -17 2719 17
rect 2753 -17 2815 17
rect 2849 -17 2911 17
rect 2945 -17 3007 17
rect 3041 -17 3103 17
rect 3137 -17 3199 17
rect 3233 -17 3295 17
rect 3329 -17 3360 17
rect 0 -49 3360 -17
<< labels >>
flabel pwell s 0 0 3360 49 0 FreeSans 200 0 0 0 VNB
port 7 nsew ground bidirectional
flabel nwell s 0 617 3360 666 0 FreeSans 200 0 0 0 VPB
port 8 nsew power bidirectional
rlabel comment s 0 0 0 0 4 sedfxtp_4
flabel comment s 1663 341 1663 341 0 FreeSans 200 0 0 0 no_jumper_check
flabel metal1 s 0 617 3360 666 0 FreeSans 340 0 0 0 VPWR
port 9 nsew power bidirectional
flabel metal1 s 0 0 3360 49 0 FreeSans 340 0 0 0 VGND
port 6 nsew ground bidirectional
flabel locali s 895 242 929 276 0 FreeSans 340 0 0 0 SCE
port 5 nsew signal input
flabel locali s 1375 242 1409 276 0 FreeSans 340 0 0 0 CLK
port 1 nsew clock input
flabel locali s 127 242 161 276 0 FreeSans 340 0 0 0 D
port 2 nsew signal input
flabel locali s 127 316 161 350 0 FreeSans 340 0 0 0 D
port 2 nsew signal input
flabel locali s 319 316 353 350 0 FreeSans 340 0 0 0 DE
port 3 nsew signal input
flabel locali s 991 242 1025 276 0 FreeSans 340 0 0 0 SCD
port 4 nsew signal input
flabel locali s 3295 242 3329 276 0 FreeSans 340 0 0 0 Q
port 10 nsew signal output
flabel locali s 3295 316 3329 350 0 FreeSans 340 0 0 0 Q
port 10 nsew signal output
flabel locali s 3295 390 3329 424 0 FreeSans 340 0 0 0 Q
port 10 nsew signal output
<< properties >>
string LEFsite unit
string LEFclass CORE
string FIXED_BBOX 0 0 3360 666
string GDS_FILE $PDKPATH/libs.ref/sky130_fd_sc_ms/gds/sky130_fd_sc_ms.gds
string LEFsymmetry X Y
string GDS_END 1943652
string GDS_START 1921124
<< end >>
